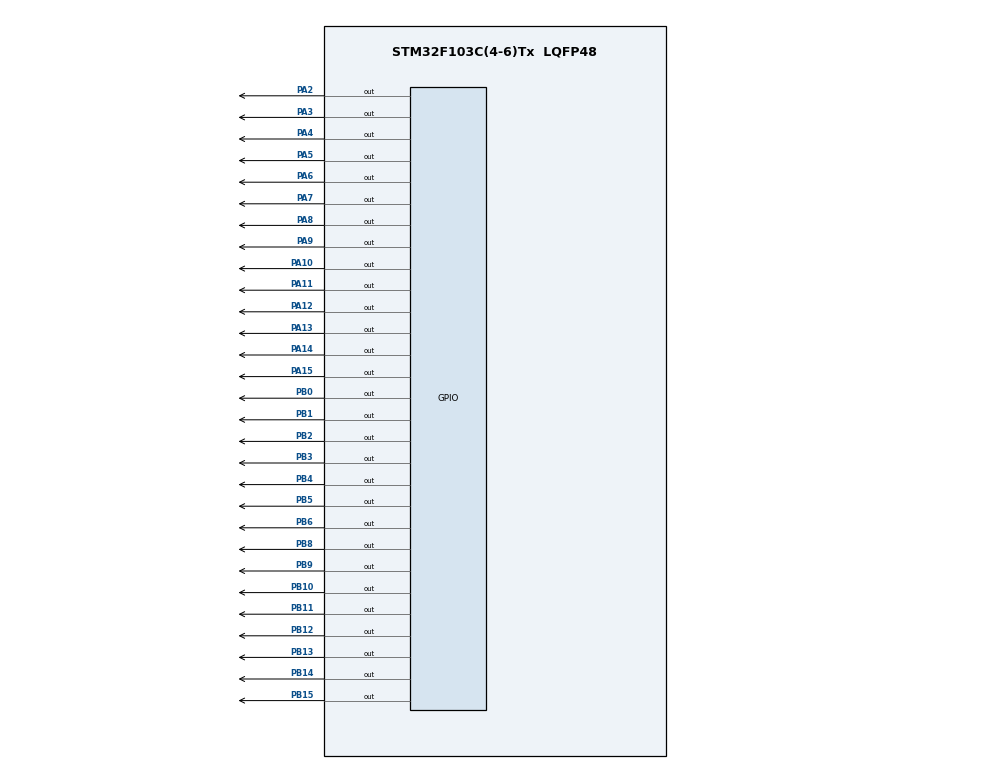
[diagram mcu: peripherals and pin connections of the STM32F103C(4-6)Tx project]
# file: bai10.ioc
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Mcu.Family=STM32F1
Mcu.Name=STM32F103C(4-6)Tx
Mcu.Package=LQFP48
NVIC.PriorityGroup=NVIC_PRIORITYGROUP_4
NVIC.TIM2_IRQn=true\:0\:0\:false\:false\:true\:true\:true\:true
PA10.Signal=GPIO_Output
PA11.Signal=GPIO_Output
PA12.Signal=GPIO_Output
PA13.Signal=GPIO_Output
PA14.Signal=GPIO_Output
PA15.Signal=GPIO_Output
PA2.Signal=GPIO_Output
PA3.Signal=GPIO_Output
PA4.Signal=GPIO_Output
PA5.Signal=GPIO_Output
PA6.Signal=GPIO_Output
PA7.Signal=GPIO_Output
PA8.Signal=GPIO_Output
PA9.Signal=GPIO_Output
PB0.Signal=GPIO_Output
PB1.Signal=GPIO_Output
PB10.Signal=GPIO_Output
PB11.Signal=GPIO_Output
PB12.Signal=GPIO_Output
PB13.Signal=GPIO_Output
PB14.Signal=GPIO_Output
PB15.Signal=GPIO_Output
PB2.Signal=GPIO_Output
PB3.Signal=GPIO_Output
PB4.Signal=GPIO_Output
PB5.Signal=GPIO_Output
PB6.Signal=GPIO_Output
PB8.Signal=GPIO_Output
PB9.Signal=GPIO_Output
ProjectManager.HeapSize=0x200
ProjectManager.StackSize=0x400
ProjectManager.TargetToolchain=STM32CubeIDE
RCC.APB1Freq_Value=8000000
RCC.APB2Freq_Value=8000000
TIM2.Period=9
TIM2.Prescaler=7999
VP_TIM2_VS_ClockSourceINT.Mode=Internal
board=custom

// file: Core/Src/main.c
/* USER CODE BEGIN Header */
/**
  ******************************************************************************
  * @file           : main.c
  * @brief          : Main program body
  ******************************************************************************
  * @attention
  *
  * Copyright (c) 2022 STMicroelectronics.
  * All rights reserved.
  *
  * This software is licensed under terms that can be found in the LICENSE file
  * in the root directory of this software component.
  * If no LICENSE file comes with this software, it is provided AS-IS.
  *
  ******************************************************************************
  */
/* USER CODE END Header */
#include "main.h"

/* USER CODE BEGIN Includes */
#include "software_timer.h"
/* USER CODE END Includes */

TIM_HandleTypeDef htim2;

void SystemClock_Config(void);
static void MX_GPIO_Init(void);
static void MX_TIM2_Init(void);

/* USER CODE BEGIN 0 */
int hour = 15, minute = 8, second = 50;
unsigned char SEG[10] = {0x40, 0x79, 0x24, 0x30, 0x19, 0x12, 0x02, 0x78, 0x00, 0x10};
void display7SEG(int num) {
	GPIOB->ODR = SEG[num];
}
const int MAX_LED = 4;
int led_buffer[4] = {1, 5, 0, 8};
int index_led = 0;
void update7SEG(int index){
  switch (index){
	  case 0:
		  //Display the first 7SEG with led_buffer[0]
		  HAL_GPIO_WritePin(GPIOA, GPIO_PIN_6, RESET);
		  HAL_GPIO_WritePin(GPIOA, GPIO_PIN_7, SET);
		  HAL_GPIO_WritePin(GPIOA, GPIO_PIN_8, SET);
		  HAL_GPIO_WritePin(GPIOA, GPIO_PIN_9, SET);
		  display7SEG(led_buffer[0]);
		  break;
	  case 1:
		  //Display the second 7SEG with led_buffer[1]
		  HAL_GPIO_WritePin(GPIOA, GPIO_PIN_6, SET);
		  HAL_GPIO_WritePin(GPIOA, GPIO_PIN_7, RESET);
		  HAL_GPIO_WritePin(GPIOA, GPIO_PIN_8, SET);
		  HAL_GPIO_WritePin(GPIOA, GPIO_PIN_9, SET);
		  display7SEG(led_buffer[1]);
		  break;
	  case 2:
		  //Display the third 7SEG with led_buffer[2]
		  HAL_GPIO_WritePin(GPIOA, GPIO_PIN_6, SET);
		  HAL_GPIO_WritePin(GPIOA, GPIO_PIN_7, SET);
		  HAL_GPIO_WritePin(GPIOA, GPIO_PIN_8, RESET);
		  HAL_GPIO_WritePin(GPIOA, GPIO_PIN_9, SET);
		  display7SEG(led_buffer[2]);
		  break;
	  case 3:
		  //Display the forth 7SEG with led_buffer[3]
		  HAL_GPIO_WritePin(GPIOA, GPIO_PIN_6, SET);
		  HAL_GPIO_WritePin(GPIOA, GPIO_PIN_7, SET);
		  HAL_GPIO_WritePin(GPIOA, GPIO_PIN_8, SET);
		  HAL_GPIO_WritePin(GPIOA, GPIO_PIN_9, RESET);
		  display7SEG(led_buffer[3]);
		  break;
	  default:
		  break;
  }
}
void updateClockBuffer() {
	led_buffer[0] = hour / 10;
	led_buffer[1] = hour % 10;
	led_buffer[2] = minute / 10;
	led_buffer[3] = minute % 10;
}

const int MAX_LED_MATRIX = 8;
int index_led_matrix = 0;
uint8_t matrix_buffer[8] = {0xFF, 0x03, 0x01, 0xCC, 0xCC, 0x01, 0x03, 0xFF};
void updateLEDMatrix(int index){
    switch (index){
        case 0:
			HAL_GPIO_WritePin(GPIOA, GPIO_PIN_2, RESET);
			HAL_GPIO_WritePin(GPIOA, GPIO_PIN_3, SET);
			HAL_GPIO_WritePin(GPIOA, GPIO_PIN_10, SET);
			HAL_GPIO_WritePin(GPIOA, GPIO_PIN_11, SET);
			HAL_GPIO_WritePin(GPIOA, GPIO_PIN_12, SET);
			HAL_GPIO_WritePin(GPIOA, GPIO_PIN_13, SET);
			HAL_GPIO_WritePin(GPIOA, GPIO_PIN_14, SET);
			HAL_GPIO_WritePin(GPIOA, GPIO_PIN_15, SET);
			GPIOB->ODR = matrix_buffer[index] << 8;
            break;
        case 1:
			HAL_GPIO_WritePin(GPIOA, GPIO_PIN_2, SET);
			HAL_GPIO_WritePin(GPIOA, GPIO_PIN_3, RESET);
			HAL_GPIO_WritePin(GPIOA, GPIO_PIN_10, SET);
			HAL_GPIO_WritePin(GPIOA, GPIO_PIN_11, SET);
			HAL_GPIO_WritePin(GPIOA, GPIO_PIN_12, SET);
			HAL_GPIO_WritePin(GPIOA, GPIO_PIN_13, SET);
			HAL_GPIO_WritePin(GPIOA, GPIO_PIN_14, SET);
			HAL_GPIO_WritePin(GPIOA, GPIO_PIN_15, SET);
			GPIOB->ODR = matrix_buffer[index] << 8;
            break;
        case 2:
			HAL_GPIO_WritePin(GPIOA, GPIO_PIN_2, SET);
			HAL_GPIO_WritePin(GPIOA, GPIO_PIN_3, SET);
			HAL_GPIO_WritePin(GPIOA, GPIO_PIN_10, RESET);
			HAL_GPIO_WritePin(GPIOA, GPIO_PIN_11, SET);
			HAL_GPIO_WritePin(GPIOA, GPIO_PIN_12, SET);
			HAL_GPIO_WritePin(GPIOA, GPIO_PIN_13, SET);
			HAL_GPIO_WritePin(GPIOA, GPIO_PIN_14, SET);
			HAL_GPIO_WritePin(GPIOA, GPIO_PIN_15, SET);
			GPIOB->ODR = matrix_buffer[index] << 8;
            break;
        case 3:
			HAL_GPIO_WritePin(GPIOA, GPIO_PIN_2, SET);
			HAL_GPIO_WritePin(GPIOA, GPIO_PIN_3, SET);
			HAL_GPIO_WritePin(GPIOA, GPIO_PIN_10, SET);
			HAL_GPIO_WritePin(GPIOA, GPIO_PIN_11, RESET);
			HAL_GPIO_WritePin(GPIOA, GPIO_PIN_12, SET);
			HAL_GPIO_WritePin(GPIOA, GPIO_PIN_13, SET);
			HAL_GPIO_WritePin(GPIOA, GPIO_PIN_14, SET);
			HAL_GPIO_WritePin(GPIOA, GPIO_PIN_15, SET);
			GPIOB->ODR = matrix_buffer[index] << 8;
            break;
        case 4:
			HAL_GPIO_WritePin(GPIOA, GPIO_PIN_2, SET);
			HAL_GPIO_WritePin(GPIOA, GPIO_PIN_3, SET);
			HAL_GPIO_WritePin(GPIOA, GPIO_PIN_10, SET);
			HAL_GPIO_WritePin(GPIOA, GPIO_PIN_11, SET);
			HAL_GPIO_WritePin(GPIOA, GPIO_PIN_12, RESET);
			HAL_GPIO_WritePin(GPIOA, GPIO_PIN_13, SET);
			HAL_GPIO_WritePin(GPIOA, GPIO_PIN_14, SET);
			HAL_GPIO_WritePin(GPIOA, GPIO_PIN_15, SET);
			GPIOB->ODR = matrix_buffer[index] << 8;
            break;
        case 5:
			HAL_GPIO_WritePin(GPIOA, GPIO_PIN_2, SET);
			HAL_GPIO_WritePin(GPIOA, GPIO_PIN_3, SET);
			HAL_GPIO_WritePin(GPIOA, GPIO_PIN_10, SET);
			HAL_GPIO_WritePin(GPIOA, GPIO_PIN_11, SET);
			HAL_GPIO_WritePin(GPIOA, GPIO_PIN_12, SET);
			HAL_GPIO_WritePin(GPIOA, GPIO_PIN_13, RESET);
			HAL_GPIO_WritePin(GPIOA, GPIO_PIN_14, SET);
			HAL_GPIO_WritePin(GPIOA, GPIO_PIN_15, SET);
			GPIOB->ODR = matrix_buffer[index] << 8;
            break;
        case 6:
			HAL_GPIO_WritePin(GPIOA, GPIO_PIN_2, SET);
			HAL_GPIO_WritePin(GPIOA, GPIO_PIN_3, SET);
			HAL_GPIO_WritePin(GPIOA, GPIO_PIN_10, SET);
			HAL_GPIO_WritePin(GPIOA, GPIO_PIN_11, SET);
			HAL_GPIO_WritePin(GPIOA, GPIO_PIN_12, SET);
			HAL_GPIO_WritePin(GPIOA, GPIO_PIN_13, SET);
			HAL_GPIO_WritePin(GPIOA, GPIO_PIN_14, RESET);
			HAL_GPIO_WritePin(GPIOA, GPIO_PIN_15, SET);
			GPIOB->ODR = matrix_buffer[index] << 8;
            break;
        case 7:
			HAL_GPIO_WritePin(GPIOA, GPIO_PIN_2, SET);
			HAL_GPIO_WritePin(GPIOA, GPIO_PIN_3, SET);
			HAL_GPIO_WritePin(GPIOA, GPIO_PIN_10, SET);
			HAL_GPIO_WritePin(GPIOA, GPIO_PIN_11, SET);
			HAL_GPIO_WritePin(GPIOA, GPIO_PIN_12, SET);
			HAL_GPIO_WritePin(GPIOA, GPIO_PIN_13, SET);
			HAL_GPIO_WritePin(GPIOA, GPIO_PIN_14, SET);
			HAL_GPIO_WritePin(GPIOA, GPIO_PIN_15, RESET);
			GPIOB->ODR = matrix_buffer[index] << 8;
            break;
        default:
            break;
    }
}
void shiftLeft() {
	uint8_t temp = matrix_buffer[0];
	for (int i = 0; i < MAX_LED_MATRIX - 1; i++) {
		matrix_buffer[i] = matrix_buffer[i + 1];
	}
	matrix_buffer[7] = temp;
}
/* USER CODE END 0 */

int main(void)
{

  /* MCU Configuration--------------------------------------------------------*/

  /* Reset of all peripherals, Initializes the Flash interface and the Systick. */
  HAL_Init();

  /* Configure the system clock */
  SystemClock_Config();

  /* Initialize all configured peripherals */
  MX_GPIO_Init();
  MX_TIM2_Init();
  /* USER CODE BEGIN 2 */
  HAL_TIM_Base_Start_IT(&htim2);
  /* USER CODE END 2 */

  /* Infinite loop */
  /* USER CODE BEGIN WHILE */
  set_timer0(100);
  int timer0_flag1 = 0;
  while (1)
  {
//	  if (timer0_flag1 == 4) {
//		  timer0_flag1 = 0;
//		  second++;
//		  if (second >= 60){
//			  second = 0;
//			  minute++;
//		  }
//		  if(minute >= 60){
//			  minute = 0;
//			  hour++;
//		  }
//		  if(hour >=24){
//			  hour = 0;
//		  }
//		  updateClockBuffer();
//
//		  HAL_GPIO_TogglePin(GPIOA, GPIO_PIN_4); //DOT PA4
//
//		  HAL_GPIO_TogglePin(GPIOA, GPIO_PIN_5); //LED PA5
//	  }
//
//	  if (timer0_flag == 1) {
//		  timer0_flag1++;
//		  set_timer0(250);
//		  //TODO
//		  if (index_led >= MAX_LED) {
//			  index_led = 0;
//		  }
//		  update7SEG(index_led++);
//	  }

	  if (timer0_flag == 1) {
		  timer0_flag1++;
		  set_timer0(100);
		  if (index_led_matrix >= MAX_LED_MATRIX) {
			  index_led_matrix = 0;
		  }
		  updateLEDMatrix(index_led_matrix++);
	  }
	  if (timer0_flag1 == 8) {
		  timer0_flag1 = 0;
		  shiftLeft();
	  }
    /* USER CODE END WHILE */

  }
}

void SystemClock_Config(void)
{
  RCC_OscInitTypeDef RCC_OscInitStruct = {0};
  RCC_ClkInitTypeDef RCC_ClkInitStruct = {0};

  /** Initializes the RCC Oscillators according to the specified parameters
  * in the RCC_OscInitTypeDef structure.
  */
  RCC_OscInitStruct.OscillatorType = RCC_OSCILLATORTYPE_HSI;
  RCC_OscInitStruct.HSIState = RCC_HSI_ON;
  RCC_OscInitStruct.HSICalibrationValue = RCC_HSICALIBRATION_DEFAULT;
  RCC_OscInitStruct.PLL.PLLState = RCC_PLL_NONE;
  if (HAL_RCC_OscConfig(&RCC_OscInitStruct) != HAL_OK)
  {
    Error_Handler();
  }

  /** Initializes the CPU, AHB and APB buses clocks
  */
  RCC_ClkInitStruct.ClockType = RCC_CLOCKTYPE_HCLK|RCC_CLOCKTYPE_SYSCLK
                              |RCC_CLOCKTYPE_PCLK1|RCC_CLOCKTYPE_PCLK2;
  RCC_ClkInitStruct.SYSCLKSource = RCC_SYSCLKSOURCE_HSI;
  RCC_ClkInitStruct.AHBCLKDivider = RCC_SYSCLK_DIV1;
  RCC_ClkInitStruct.APB1CLKDivider = RCC_HCLK_DIV1;
  RCC_ClkInitStruct.APB2CLKDivider = RCC_HCLK_DIV1;

  if (HAL_RCC_ClockConfig(&RCC_ClkInitStruct, FLASH_LATENCY_0) != HAL_OK)
  {
    Error_Handler();
  }
}

static void MX_TIM2_Init(void)
{

  TIM_ClockConfigTypeDef sClockSourceConfig = {0};
  TIM_MasterConfigTypeDef sMasterConfig = {0};

  htim2.Instance = TIM2;
  htim2.Init.Prescaler = 7999;
  htim2.Init.CounterMode = TIM_COUNTERMODE_UP;
  htim2.Init.Period = 9;
  htim2.Init.ClockDivision = TIM_CLOCKDIVISION_DIV1;
  htim2.Init.AutoReloadPreload = TIM_AUTORELOAD_PRELOAD_DISABLE;
  if (HAL_TIM_Base_Init(&htim2) != HAL_OK)
  {
    Error_Handler();
  }
  sClockSourceConfig.ClockSource = TIM_CLOCKSOURCE_INTERNAL;
  if (HAL_TIM_ConfigClockSource(&htim2, &sClockSourceConfig) != HAL_OK)
  {
    Error_Handler();
  }
  sMasterConfig.MasterOutputTrigger = TIM_TRGO_RESET;
  sMasterConfig.MasterSlaveMode = TIM_MASTERSLAVEMODE_DISABLE;
  if (HAL_TIMEx_MasterConfigSynchronization(&htim2, &sMasterConfig) != HAL_OK)
  {
    Error_Handler();
  }

}

static void MX_GPIO_Init(void)
{
  GPIO_InitTypeDef GPIO_InitStruct = {0};

  /* GPIO Ports Clock Enable */
  __HAL_RCC_GPIOA_CLK_ENABLE();
  __HAL_RCC_GPIOB_CLK_ENABLE();

  /*Configure GPIO pin Output Level */
  HAL_GPIO_WritePin(GPIOA, GPIO_PIN_2|GPIO_PIN_3|GPIO_PIN_4|GPIO_PIN_5
                          |GPIO_PIN_6|GPIO_PIN_7|GPIO_PIN_8|GPIO_PIN_9
                          |GPIO_PIN_10|GPIO_PIN_11|GPIO_PIN_12|GPIO_PIN_13
                          |GPIO_PIN_14|GPIO_PIN_15, GPIO_PIN_RESET);

  /*Configure GPIO pin Output Level */
  HAL_GPIO_WritePin(GPIOB, GPIO_PIN_0|GPIO_PIN_1|GPIO_PIN_2|GPIO_PIN_10
                          |GPIO_PIN_11|GPIO_PIN_12|GPIO_PIN_13|GPIO_PIN_14
                          |GPIO_PIN_15|GPIO_PIN_3|GPIO_PIN_4|GPIO_PIN_5
                          |GPIO_PIN_6|GPIO_PIN_8|GPIO_PIN_9, GPIO_PIN_RESET);

  /*Configure GPIO pins : PA2 PA3 PA4 PA5
                           PA6 PA7 PA8 PA9
                           PA10 PA11 PA12 PA13
                           PA14 PA15 */
  GPIO_InitStruct.Pin = GPIO_PIN_2|GPIO_PIN_3|GPIO_PIN_4|GPIO_PIN_5
                          |GPIO_PIN_6|GPIO_PIN_7|GPIO_PIN_8|GPIO_PIN_9
                          |GPIO_PIN_10|GPIO_PIN_11|GPIO_PIN_12|GPIO_PIN_13
                          |GPIO_PIN_14|GPIO_PIN_15;
  GPIO_InitStruct.Mode = GPIO_MODE_OUTPUT_PP;
  GPIO_InitStruct.Pull = GPIO_NOPULL;
  GPIO_InitStruct.Speed = GPIO_SPEED_FREQ_LOW;
  HAL_GPIO_Init(GPIOA, &GPIO_InitStruct);

  /*Configure GPIO pins : PB0 PB1 PB2 PB10
                           PB11 PB12 PB13 PB14
                           PB15 PB3 PB4 PB5
                           PB6 PB8 PB9 */
  GPIO_InitStruct.Pin = GPIO_PIN_0|GPIO_PIN_1|GPIO_PIN_2|GPIO_PIN_10
                          |GPIO_PIN_11|GPIO_PIN_12|GPIO_PIN_13|GPIO_PIN_14
                          |GPIO_PIN_15|GPIO_PIN_3|GPIO_PIN_4|GPIO_PIN_5
                          |GPIO_PIN_6|GPIO_PIN_8|GPIO_PIN_9;
  GPIO_InitStruct.Mode = GPIO_MODE_OUTPUT_PP;
  GPIO_InitStruct.Pull = GPIO_NOPULL;
  GPIO_InitStruct.Speed = GPIO_SPEED_FREQ_LOW;
  HAL_GPIO_Init(GPIOB, &GPIO_InitStruct);

}

/* USER CODE BEGIN 4 */
void HAL_TIM_PeriodElapsedCallback (TIM_HandleTypeDef * htim) {
	timer_run();
}
/* USER CODE END 4 */

void Error_Handler(void)
{
  __disable_irq();
  while (1)
  {
  }
}
